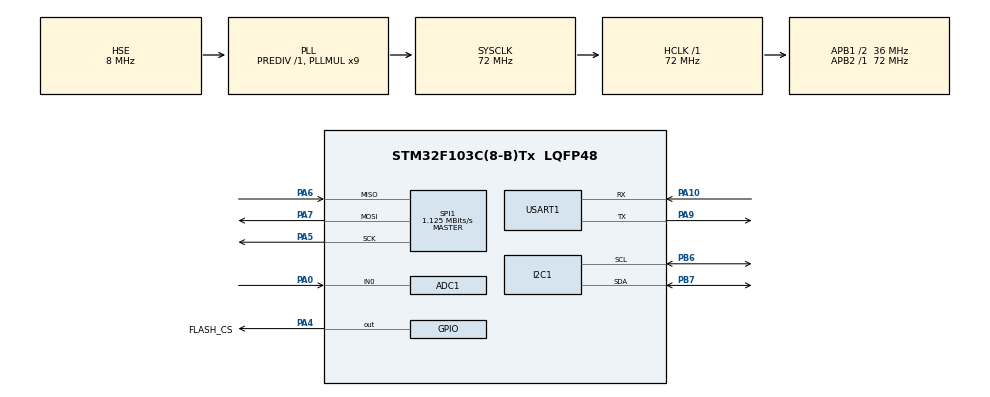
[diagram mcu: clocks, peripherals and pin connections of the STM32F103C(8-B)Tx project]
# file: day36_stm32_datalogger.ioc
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ADC1.Channel-0\#ChannelRegularConversion=ADC_CHANNEL_0
ADC1.NbrOfConversionFlag=1
ADC1.Rank-0\#ChannelRegularConversion=1
ADC1.SamplingTime-0\#ChannelRegularConversion=ADC_SAMPLETIME_55CYCLES_5
ADC1.master=1
Mcu.Family=STM32F1
Mcu.Name=STM32F103C(8-B)Tx
Mcu.Package=LQFP48
NVIC.PriorityGroup=NVIC_PRIORITYGROUP_4
PA0-WKUP.Signal=ADCx_IN0
PA10.Mode=Asynchronous
PA10.Signal=USART1_RX
PA13.Mode=Serial_Wire
PA13.Signal=SYS_JTMS-SWDIO
PA14.Mode=Serial_Wire
PA14.Signal=SYS_JTCK-SWCLK
PA4.GPIO_Label=FLASH_CS
PA4.PinState=GPIO_PIN_SET
PA4.Signal=GPIO_Output
PA5.GPIO_Speed=GPIO_SPEED_FREQ_HIGH
PA5.Mode=Full_Duplex_Master
PA5.Signal=SPI1_SCK
PA6.Mode=Full_Duplex_Master
PA6.Signal=SPI1_MISO
PA7.Mode=Full_Duplex_Master
PA7.Signal=SPI1_MOSI
PA9.Mode=Asynchronous
PA9.Signal=USART1_TX
PB6.Mode=I2C
PB6.Signal=I2C1_SCL
PB7.Mode=I2C
PB7.Signal=I2C1_SDA
PD0-OSC_IN.Mode=HSE-External-Oscillator
PD0-OSC_IN.Signal=RCC_OSC_IN
PD1-OSC_OUT.Mode=HSE-External-Oscillator
PD1-OSC_OUT.Signal=RCC_OSC_OUT
ProjectManager.HeapSize=0x200
ProjectManager.StackSize=0x400
ProjectManager.TargetToolchain=Makefile
RCC.ADCPresc=RCC_ADCPCLK2_DIV6
RCC.AHBFreq_Value=72000000
RCC.APB1CLKDivider=RCC_HCLK_DIV2
RCC.APB1Freq_Value=36000000
RCC.APB1TimFreq_Value=72000000
RCC.APB2Freq_Value=72000000
RCC.APB2TimFreq_Value=72000000
RCC.HCLKFreq_Value=72000000
RCC.PLLMUL=RCC_PLL_MUL9
RCC.PLLSourceVirtual=RCC_PLLSOURCE_HSE
RCC.SYSCLKFreq_VALUE=72000000
RCC.SYSCLKSource=RCC_SYSCLKSOURCE_PLLCLK
RCC.USBFreq_Value=72000000
SH.ADCx_IN0.0=ADC1_IN0,IN0
SPI1.BaudRatePrescaler=SPI_BAUDRATEPRESCALER_64
SPI1.CalculateBaudRate=1.125 MBits/s
SPI1.Direction=SPI_DIRECTION_2LINES
SPI1.Mode=SPI_MODE_MASTER
SPI1.VirtualType=VM_MASTER
USART1.VirtualMode=VM_ASYNC
board=custom

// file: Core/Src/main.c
/* USER CODE BEGIN Header */
/**
  ******************************************************************************
  * @file           : main.c
  * @brief          : Main program body
  ******************************************************************************
  * @attention
  *
  * Copyright (c) 2026 STMicroelectronics.
  * All rights reserved.
  *
  * This software is licensed under terms that can be found in the LICENSE file
  * in the root directory of this software component.
  * If no LICENSE file comes with this software, it is provided AS-IS.
  *
  ******************************************************************************
  */
/* USER CODE END Header */
#include "main.h"

/* USER CODE BEGIN Includes */
#include "light_sensor.h"//包含光照传感器头文件
#include <stdio.h>
#include <string.h>
#include "i2c_scanner.h"
#include "oled.h"
#include "w25q64.h"
/* USER CODE END Includes */

ADC_HandleTypeDef hadc1;

I2C_HandleTypeDef hi2c1;

SPI_HandleTypeDef hspi1;

UART_HandleTypeDef huart1;

/* USER CODE BEGIN PV */
//第一步：定义OLED字符串缓冲区
//用于保存ADC整数转换后的文本
//16个字节足够保存uint16_t的十进制表示及结束符

/* USER CODE END PV */

void SystemClock_Config(void);
static void MX_GPIO_Init(void);
static void MX_ADC1_Init(void);
static void MX_USART1_UART_Init(void);
static void MX_SPI1_Init(void);
static void MX_I2C1_Init(void);

int main(void)
{

  /* MCU Configuration--------------------------------------------------------*/

  /* Reset of all peripherals, Initializes the Flash interface and the Systick. */
  HAL_Init();

  /* Configure the system clock */
  SystemClock_Config();

  /* Initialize all configured peripherals */
  MX_GPIO_Init();
  MX_ADC1_Init();
  MX_USART1_UART_Init();
  MX_SPI1_Init();
  MX_I2C1_Init();
  /* USER CODE BEGIN 2 */
  uint32_t average=0;
  uint32_t moving_average=0;
  uint32_t oversampled=0;
  if(HAL_ADCEx_Calibration_Start(&hadc1)!=HAL_OK)
  {
    Error_Handler();
  }
  /*Day36:I2C address scanner*/
  uint8_t devices[8]={0};
  uint8_t device_count=I2C_Scan(&hi2c1,devices,8);
char scan_msg[64];
int scan_len = snprintf(scan_msg,sizeof(scan_msg),"I2C Scan:%u device(s)\r\n",(unsigned int)device_count);
if(scan_len<0||(size_t)scan_len>=sizeof(scan_msg))
{
  Error_Handler();
}
if(HAL_UART_Transmit(&huart1,(uint8_t*)scan_msg,(uint16_t)scan_len,100)!=HAL_OK)
{
  Error_Handler();
}
for (uint8_t i = 0; i < device_count; i++)
{
    scan_len = snprintf(
        scan_msg,
        sizeof(scan_msg),
        "I2C Found: 0x%02X\r\n",
        (unsigned int)devices[i]
    );

    if (scan_len < 0 || (size_t)scan_len >= sizeof(scan_msg))
    {
        Error_Handler();
    }

    if (HAL_UART_Transmit(
            &huart1,
            (uint8_t *)scan_msg,
            (uint16_t)scan_len,
            100
        ) != HAL_OK)
    {
        Error_Handler();
    }
}

//================ OLED初始化 ================

//第一步：声明OLED操作状态变量
HAL_StatusTypeDef oled_status;

//第二步：初始化OLED
//内部完成显示参数配置、清屏和开启显示
oled_status = OLED_Init(&hi2c1);

//第三步：检查OLED初始化是否成功
if(oled_status != HAL_OK)
{
    //OLED初始化失败
    //停止当前程序，防止后续继续访问异常设备
    Error_Handler();
}

//初始化成功后，不再显示固定字符串
//OLED实时刷新由while(1)负责

//第四步：通过串口输出OLED测试状态
//这里只报告I2C通信状态，不直接判断屏幕是否点亮
if(oled_status == HAL_OK)
{
    const char msg[] = "OLED TEST: I2C OK\r\n";
    HAL_UART_Transmit(
        &huart1,
        (uint8_t *)msg,
        sizeof(msg) - 1,
        100
    );
}
else
{
    const char msg[] = "OLED TEST: I2C ERROR\r\n";
    HAL_UART_Transmit(
        &huart1,
        (uint8_t *)msg,
        sizeof(msg) - 1,
        100
    );
}

//================ W25Q64 SPI通信测试 ================

//第一步：定义JEDEC ID接收数组
//W25Q64的JEDEC ID由3个字节组成
uint8_t jedec_id[3] = {0};

//第二步：通过SPI1读取Flash的JEDEC ID
HAL_StatusTypeDef flash_status;
flash_status = W25Q64_ReadID(jedec_id);

//第三步：检查SPI通信结果
if(flash_status != HAL_OK)
{
    //SPI通信失败
    Error_Handler();
}

//第四步：检查读取的设备型号
//你之前实测W25Q64的JEDEC ID为EF 40 17
if(jedec_id[0] != 0xEF ||
   jedec_id[1] != 0x40 ||
   jedec_id[2] != 0x17)
{
    //读回的ID不符合预期
    Error_Handler();
}

//第五步：输出读取成功的信息
const char flash_msg[] = "FLASH JEDEC ID: EF 40 17 OK\r\n";

HAL_StatusTypeDef flash_uart_status;

flash_uart_status = HAL_UART_Transmit(
    &huart1,
    (uint8_t *)flash_msg,
    sizeof(flash_msg) - 1,
    100
);

//第六步：检查UART发送是否成功
if(flash_uart_status != HAL_OK)
{
    Error_Handler();
}

//================ Flash存储区域检查 ================

//第一步：选择一个候选测试地址
//暂时只读取，不写入、不擦除
//这个地址不是已确认可以覆盖的区域
uint32_t flash_address = 0x002000;

//第二步：准备8字节接收缓冲区
//后续计划分别保存Raw和Avg
uint8_t flash_check[8] = {0};

//第三步：读取Flash原有数据
HAL_StatusTypeDef check_status;

check_status = W25Q64_ReadData(
    flash_address,
    flash_check,
    sizeof(flash_check)
);

//第四步：检查SPI读取结果
if(check_status != HAL_OK)
{
    //Flash读取失败
    Error_Handler();
}

//第五步：将读取结果输出到串口
char flash_log[100];

int log_len = snprintf(
    flash_log,
    sizeof(flash_log),
    "FLASH BEFORE: %02X %02X %02X %02X %02X %02X %02X %02X\r\n",
    flash_check[0],
    flash_check[1],
    flash_check[2],
    flash_check[3],
    flash_check[4],
    flash_check[5],
    flash_check[6],
    flash_check[7]
);

//第六步：检查字符串格式化结果
if(log_len < 0 || (size_t)log_len >= sizeof(flash_log))
{
    Error_Handler();
}

//第七步：通过UART输出Flash原有内容
HAL_StatusTypeDef log_status;

log_status = HAL_UART_Transmit(
    &huart1,
    (uint8_t *)flash_log,
    (uint16_t)log_len,
    100
);

//第八步：检查UART发送结果
if(log_status != HAL_OK)
{
    Error_Handler();
}
  /* USER CODE END 2 */

  /* Infinite loop */
  while (1)
  {

    /* USER CODE BEGIN 3 */
    uint32_t light_value=0;
    HAL_StatusTypeDef status;
    HAL_StatusTypeDef tx_status;
    status=Light_ReadRaw(&light_value);
    HAL_StatusTypeDef status_avg=Light_ReadAverage(&average,10);
    HAL_StatusTypeDef status_moving_avg=Light_ReadMovingAverage(&moving_average);
    HAL_StatusTypeDef status_oversampled=Light_ReadOversampled(&oversampled);
    if(status==HAL_OK&&status_avg==HAL_OK&&status_moving_avg==HAL_OK&&status_oversampled==HAL_OK&&light_value<=4095)
    {char msg[96];
    int len = snprintf(msg, sizeof(msg),
         "Raw:%lu Avg:%lu Moving:%lu Over:%lu\r\n",
         (unsigned long)light_value,
         (unsigned long)average,
         (unsigned long)moving_average,
         (unsigned long)oversampled);
         if(len<0||(size_t)len>=sizeof(msg))
    {
      Error_Handler();
    }
         tx_status = HAL_UART_Transmit(
    &huart1,
    (uint8_t *)msg,
    (uint16_t)len,
    100
);

      if(tx_status != HAL_OK)
      {
       //uart发送失败时
        Error_Handler();
      }
//================ OLED双行实时显示ADC数据 ================

//第一步：定义两个字符串缓冲区
//每个缓冲区最多保存15个可见字符及结束符
char raw_buffer[16];
char avg_buffer[16];

//第二步：将ADC原始值转换为固定宽度字符串
//RAW:为标签，%04lu表示数值至少占4位，不足补0
//例如：light_value=3237，得到"RAW:3237"
int raw_len = snprintf(
    raw_buffer,
    sizeof(raw_buffer),
    "RAW:%04lu",
    (unsigned long)light_value
);

//第三步：将ADC平均值转换为固定宽度字符串
//例如：average=3235，得到"AVG:3235"
int avg_len = snprintf(
    avg_buffer,
    sizeof(avg_buffer),
    "AVG:%04lu",
    (unsigned long)average
);

//第四步：检查两次字符串格式化是否成功
//snprintf返回负数表示格式化失败
//返回值大于等于缓冲区容量表示发生截断
if(raw_len < 0 ||
   (size_t)raw_len >= sizeof(raw_buffer) ||
   avg_len < 0 ||
   (size_t)avg_len >= sizeof(avg_buffer))
{
    //字符串格式化失败
    Error_Handler();
}
else
{
    //第五步：声明OLED通信状态变量
    HAL_StatusTypeDef oled_status;

    //第六步：设置RAW显示位置
    //Page 2：对应OLED第16~23行
    //Column 0：从最左侧开始显示
    oled_status = OLED_SetPosition(&hi2c1, 2, 0);

    //第七步：检查RAW定位结果
    if(oled_status != HAL_OK)
    {
        //I2C定位命令发送失败
        Error_Handler();
    }
    else
    {
        //第八步：写入RAW字符串
        oled_status = OLED_ShowString(
            &hi2c1,
            raw_buffer
        );

        //第九步：检查RAW字符串发送结果
        if(oled_status != HAL_OK)
        {
            //RAW显示数据发送失败
            Error_Handler();
        }
        else
        {
            //第十步：设置AVG显示位置
            //Page 4：对应OLED第32~39行
            //Column 0：从最左侧开始显示
            oled_status = OLED_SetPosition(&hi2c1, 4, 0);

            //第十一步：检查AVG定位结果
            if(oled_status != HAL_OK)
            {
                //I2C定位命令发送失败
                Error_Handler();
            }
            else
            {
                //第十二步：写入AVG字符串
                oled_status = OLED_ShowString(
                    &hi2c1,
                    avg_buffer
                );

                //第十三步：检查AVG字符串发送结果
                if(oled_status != HAL_OK)
                {
                    //AVG显示数据发送失败
                    Error_Handler();
                }
            }
        }
    }
}
//================ W25Q64真实ADC数据存储 ================

//第一步：定义本次启动的写入标志
//static变量不会随着while循环反复初始化
//0表示尚未尝试写入，1表示本次启动已经尝试过
static uint8_t flash_attempted = 0;

//第二步：每次启动最多尝试写入一次
if(flash_attempted == 0)
{
    //先设置标志，防止本次启动重复执行
    flash_attempted = 1;

    //第三步：指定Day36专用的8字节存储区域
    //使用之前已检查的候选地址
    const uint32_t address = 0x002000;

    //第四步：准备写入、检查和读回数组
    uint8_t write_data[8] = {0};
    uint8_t before_data[8] = {0};
    uint8_t verify_data[8] = {0};

    HAL_StatusTypeDef flash_status;
    const char *flash_message = "FLASH ERROR\r\n";

    //第五步：再次读取目标地址原有内容
    flash_status = W25Q64_ReadData(
        address,
        before_data,
        sizeof(before_data)
    );

    //第六步：检查读取是否成功
    if(flash_status != HAL_OK)
    {
        flash_message = "FLASH READ ERROR\r\n";
    }
    else
    {
        //第七步：检查8字节是否全部为FF
        uint8_t is_empty = 1;

        for(uint8_t i = 0; i < 8; i++)
        {
            if(before_data[i] != 0xFF)
            {
                is_empty = 0;
                break;
            }
        }

        if(is_empty == 0)
        {//================ 输出Flash已经保存的ADC数据 ================

//第一步：还原前4字节中的RAW
uint32_t saved_raw =
    ((uint32_t)before_data[0]) |
    ((uint32_t)before_data[1] << 8) |
    ((uint32_t)before_data[2] << 16) |
    ((uint32_t)before_data[3] << 24);

//第二步：还原后4字节中的AVG
uint32_t saved_avg =
    ((uint32_t)before_data[4]) |
    ((uint32_t)before_data[5] << 8) |
    ((uint32_t)before_data[6] << 16) |
    ((uint32_t)before_data[7] << 24);

//第三步：将整数转换为串口字符串
char saved_msg[80];

int saved_len = snprintf(
    saved_msg,
    sizeof(saved_msg),
    "FLASH SAVED RAW:%lu AVG:%lu\r\n",
    (unsigned long)saved_raw,
    (unsigned long)saved_avg
);

//第四步：检查字符串格式化是否成功
if(saved_len < 0 ||
   (size_t)saved_len >= sizeof(saved_msg))
{
    Error_Handler();
}

//第五步：通过USART1输出
HAL_StatusTypeDef saved_status = HAL_UART_Transmit(
    &huart1,
    (uint8_t *)saved_msg,
    (uint16_t)saved_len,
    100
);

//第六步：检查串口发送状态
if(saved_status != HAL_OK)
{
    Error_Handler();
}
            //已有数据，跳过写入，防止覆盖
            flash_message = "FLASH NOT EMPTY, SKIPPED\r\n";
        }
        else
        {
            //第八步：保存本轮ADC原始值和平均值
            uint32_t raw = (uint32_t)light_value;
            uint32_t avg = (uint32_t)average;

            //第九步：将两个32位整数转换成8个字节
            //前4字节保存RAW，后4字节保存AVG
            //采用低字节在前的存储顺序
            for(uint8_t i = 0; i < 4; i++)
            {
                write_data[i] =
                    (uint8_t)(raw >> (8U * i));

                write_data[i + 4] =
                    (uint8_t)(avg >> (8U * i));
            }

            //第十步：执行一次Flash页编程
            flash_status = W25Q64_PageProgram(
                address,
                write_data,
                sizeof(write_data)
            );

            //第十一步：检查页编程结果
            if(flash_status != HAL_OK)
            {
                flash_message = "FLASH PROGRAM ERROR\r\n";
            }
            else
            {
                //第十二步：读取刚写入的8个字节
                flash_status = W25Q64_ReadData(
                    address,
                    verify_data,
                    sizeof(verify_data)
                );

                //第十三步：检查读回通信状态
                if(flash_status != HAL_OK)
                {
                    flash_message = "FLASH VERIFY READ ERROR\r\n";
                }
                else
                {
                    //第十四步：逐字节比较写入和读回数据
                    if(memcmp(write_data, verify_data, 8) == 0)
                    {
                        flash_message = "FLASH VERIFY OK\r\n";
                    }
                    else
                    {
                        flash_message = "FLASH VERIFY FAIL\r\n";
                    }
                }
            }
        }
    }

    //第十五步：通过UART报告最终结果
    HAL_StatusTypeDef uart_status;

    uart_status = HAL_UART_Transmit(
        &huart1,
        (uint8_t *)flash_message,
        (uint16_t)strlen(flash_message),
        100
    );

    //第十六步：检查UART发送状态
    if(uart_status != HAL_OK)
    {
        Error_Handler();
    }
}
    }
    else
   {//ADC采集失败时执行
     char error_msg[]="ADC ERROR\r\n";
     tx_status=HAL_UART_Transmit(&huart1,(uint8_t*)error_msg,strlen(error_msg),100);
     if(tx_status != HAL_OK)
      {
       //uart发送失败时
        Error_Handler();
      }

    }
    HAL_Delay(500);
  }
  /* USER CODE END 3 */
}

void SystemClock_Config(void)
{
  RCC_OscInitTypeDef RCC_OscInitStruct = {0};
  RCC_ClkInitTypeDef RCC_ClkInitStruct = {0};
  RCC_PeriphCLKInitTypeDef PeriphClkInit = {0};

  /** Initializes the RCC Oscillators according to the specified parameters
  * in the RCC_OscInitTypeDef structure.
  */
  RCC_OscInitStruct.OscillatorType = RCC_OSCILLATORTYPE_HSE;
  RCC_OscInitStruct.HSEState = RCC_HSE_ON;
  RCC_OscInitStruct.HSEPredivValue = RCC_HSE_PREDIV_DIV1;
  RCC_OscInitStruct.HSIState = RCC_HSI_ON;
  RCC_OscInitStruct.PLL.PLLState = RCC_PLL_ON;
  RCC_OscInitStruct.PLL.PLLSource = RCC_PLLSOURCE_HSE;
  RCC_OscInitStruct.PLL.PLLMUL = RCC_PLL_MUL9;
  if (HAL_RCC_OscConfig(&RCC_OscInitStruct) != HAL_OK)
  {
    Error_Handler();
  }

  /** Initializes the CPU, AHB and APB buses clocks
  */
  RCC_ClkInitStruct.ClockType = RCC_CLOCKTYPE_HCLK|RCC_CLOCKTYPE_SYSCLK
                              |RCC_CLOCKTYPE_PCLK1|RCC_CLOCKTYPE_PCLK2;
  RCC_ClkInitStruct.SYSCLKSource = RCC_SYSCLKSOURCE_PLLCLK;
  RCC_ClkInitStruct.AHBCLKDivider = RCC_SYSCLK_DIV1;
  RCC_ClkInitStruct.APB1CLKDivider = RCC_HCLK_DIV2;
  RCC_ClkInitStruct.APB2CLKDivider = RCC_HCLK_DIV1;

  if (HAL_RCC_ClockConfig(&RCC_ClkInitStruct, FLASH_LATENCY_2) != HAL_OK)
  {
    Error_Handler();
  }
  PeriphClkInit.PeriphClockSelection = RCC_PERIPHCLK_ADC;
  PeriphClkInit.AdcClockSelection = RCC_ADCPCLK2_DIV6;
  if (HAL_RCCEx_PeriphCLKConfig(&PeriphClkInit) != HAL_OK)
  {
    Error_Handler();
  }
}

static void MX_ADC1_Init(void)
{

  ADC_ChannelConfTypeDef sConfig = {0};

  /** Common config
  */
  hadc1.Instance = ADC1;
  hadc1.Init.ScanConvMode = ADC_SCAN_DISABLE;
  hadc1.Init.ContinuousConvMode = DISABLE;
  hadc1.Init.DiscontinuousConvMode = DISABLE;
  hadc1.Init.ExternalTrigConv = ADC_SOFTWARE_START;
  hadc1.Init.DataAlign = ADC_DATAALIGN_RIGHT;
  hadc1.Init.NbrOfConversion = 1;
  if (HAL_ADC_Init(&hadc1) != HAL_OK)
  {
    Error_Handler();
  }

  /** Configure Regular Channel
  */
  sConfig.Channel = ADC_CHANNEL_0;
  sConfig.Rank = ADC_REGULAR_RANK_1;
  sConfig.SamplingTime = ADC_SAMPLETIME_55CYCLES_5;
  if (HAL_ADC_ConfigChannel(&hadc1, &sConfig) != HAL_OK)
  {
    Error_Handler();
  }

}

static void MX_I2C1_Init(void)
{

  hi2c1.Instance = I2C1;
  hi2c1.Init.ClockSpeed = 100000;
  hi2c1.Init.DutyCycle = I2C_DUTYCYCLE_2;
  hi2c1.Init.OwnAddress1 = 0;
  hi2c1.Init.AddressingMode = I2C_ADDRESSINGMODE_7BIT;
  hi2c1.Init.DualAddressMode = I2C_DUALADDRESS_DISABLE;
  hi2c1.Init.OwnAddress2 = 0;
  hi2c1.Init.GeneralCallMode = I2C_GENERALCALL_DISABLE;
  hi2c1.Init.NoStretchMode = I2C_NOSTRETCH_DISABLE;
  if (HAL_I2C_Init(&hi2c1) != HAL_OK)
  {
    Error_Handler();
  }

}

static void MX_SPI1_Init(void)
{

  /* SPI1 parameter configuration*/
  hspi1.Instance = SPI1;
  hspi1.Init.Mode = SPI_MODE_MASTER;
  hspi1.Init.Direction = SPI_DIRECTION_2LINES;
  hspi1.Init.DataSize = SPI_DATASIZE_8BIT;
  hspi1.Init.CLKPolarity = SPI_POLARITY_LOW;
  hspi1.Init.CLKPhase = SPI_PHASE_1EDGE;
  hspi1.Init.NSS = SPI_NSS_SOFT;
  hspi1.Init.BaudRatePrescaler = SPI_BAUDRATEPRESCALER_64;
  hspi1.Init.FirstBit = SPI_FIRSTBIT_MSB;
  hspi1.Init.TIMode = SPI_TIMODE_DISABLE;
  hspi1.Init.CRCCalculation = SPI_CRCCALCULATION_DISABLE;
  hspi1.Init.CRCPolynomial = 10;
  if (HAL_SPI_Init(&hspi1) != HAL_OK)
  {
    Error_Handler();
  }

}

static void MX_USART1_UART_Init(void)
{

  huart1.Instance = USART1;
  huart1.Init.BaudRate = 115200;
  huart1.Init.WordLength = UART_WORDLENGTH_8B;
  huart1.Init.StopBits = UART_STOPBITS_1;
  huart1.Init.Parity = UART_PARITY_NONE;
  huart1.Init.Mode = UART_MODE_TX_RX;
  huart1.Init.HwFlowCtl = UART_HWCONTROL_NONE;
  huart1.Init.OverSampling = UART_OVERSAMPLING_16;
  if (HAL_UART_Init(&huart1) != HAL_OK)
  {
    Error_Handler();
  }

}

static void MX_GPIO_Init(void)
{
  GPIO_InitTypeDef GPIO_InitStruct = {0};

  /* GPIO Ports Clock Enable */
  __HAL_RCC_GPIOD_CLK_ENABLE();
  __HAL_RCC_GPIOA_CLK_ENABLE();
  __HAL_RCC_GPIOB_CLK_ENABLE();

  /*Configure GPIO pin Output Level */
  HAL_GPIO_WritePin(FLASH_CS_GPIO_Port, FLASH_CS_Pin, GPIO_PIN_SET);

  /*Configure GPIO pin : FLASH_CS_Pin */
  GPIO_InitStruct.Pin = FLASH_CS_Pin;
  GPIO_InitStruct.Mode = GPIO_MODE_OUTPUT_PP;
  GPIO_InitStruct.Pull = GPIO_NOPULL;
  GPIO_InitStruct.Speed = GPIO_SPEED_FREQ_LOW;
  HAL_GPIO_Init(FLASH_CS_GPIO_Port, &GPIO_InitStruct);

}

void Error_Handler(void)
{
  __disable_irq();
  while (1)
  {
  }
}
